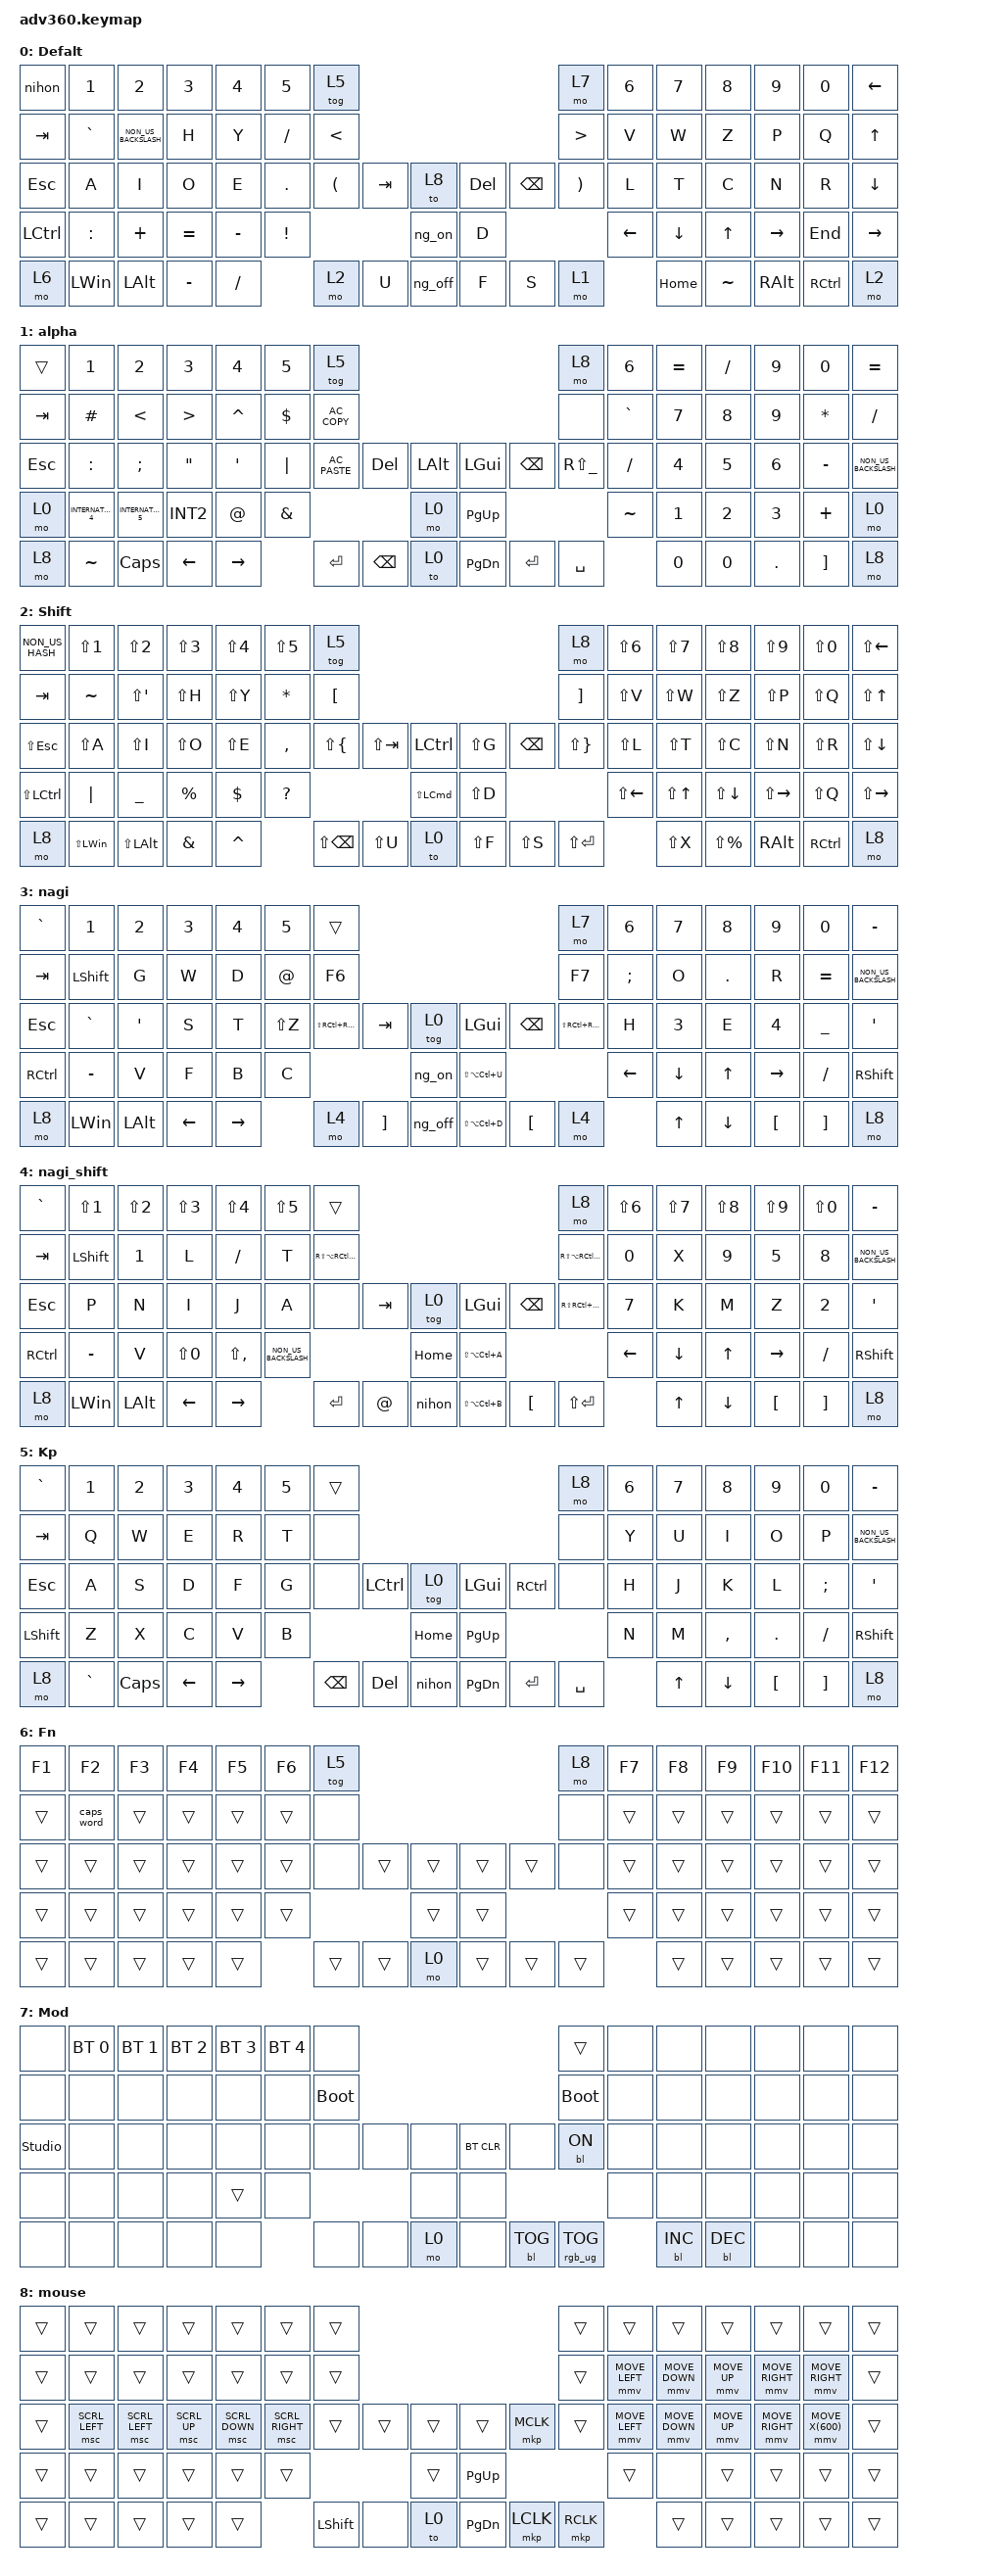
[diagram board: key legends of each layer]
#include <dt-bindings/zmk/stp.h>
#include <behaviors.dtsi>
#include <dt-bindings/zmk/backlight.h>
#include <dt-bindings/zmk/bt.h>
#include <dt-bindings/zmk/keys.h>
#include <dt-bindings/zmk/pointing.h>
#include <dt-bindings/zmk/rgb.h>

/ {
    behaviors {
        #include "macros.dtsi"
      #include "version.dtsi"

        as_ht: as_ht {
            compatible = "zmk,behavior-hold-tap";
            label = "AS_HT";
            bindings = <&mo>, <&kp>;

            #binding-cells = <2>;
            tapping-term-ms = <100>;
            flavor = "tap-preferred";
        };
    };

    macros {
        ng_on: ng_on {
            compatible = "zmk,behavior-macro";
            #binding-cells = <0>;
            bindings = <&macro_tap>, <&kp LC(F1)>, <&macro_tap>, <&to 3>;
        };

        ng_off: ng_off {
            compatible = "zmk,behavior-macro";
            #binding-cells = <0>;
            bindings = <&macro_tap>, <&kp LC(F2)>, <&macro_tap>, <&to 0>;
        };

        nihon: new_macro {
            compatible = "zmk,behavior-macro";
            #binding-cells = <0>;
            bindings =
                <&macro_press>,
                <&kp LEFT_ALT>,
                <&macro_tap>,
                <&kp GRAVE>,
                <&macro_release>,
                <&kp LEFT_ALT>;

            label = "NEW_MACRO";
        };

        ltsst: ciccogg {
            compatible = "zmk,behavior-macro";
            #binding-cells = <0>;
            bindings =
                <&macro_press>,
                <&kp LEFT_ALT>,
                <&macro_tap>,
                <&kp GRAVE>,
                <&macro_release>,
                <&kp LEFT_ALT>,
                <&macro_tap>,
                <&kp LESS_THAN>,
                <&macro_press>,
                <&kp LALT>,
                <&macro_tap>,
                <&kp GRAVE>,
                <&macro_release>,
                <&kp LEFT_ALT>;

            label = "CICCO";
        };

        get: get {
            compatible = "zmk,behavior-macro";
            #binding-cells = <0>;
            bindings =
                <&macro_press>,
                <&kp LEFT_ALT>,
                <&macro_tap>,
                <&kp GRAVE>,
                <&macro_release>,
                <&kp LEFT_ALT>,
                <&macro_tap>,
                <&kp GREATER_THAN>,
                <&macro_press>,
                <&kp LALT>,
                <&macro_tap>,
                <&kp GRAVE>,
                <&macro_release>,
                <&kp LEFT_ALT>;

            label = "GET";
        };

        cicco: cicco {
            compatible = "zmk,behavior-macro";
            #binding-cells = <0>;
            bindings =
                <&macro_press>,
                <&kp LEFT_ALT>,
                <&macro_tap>,
                <&kp GRAVE>,
                <&macro_release>,
                <&kp LEFT_ALT>,
                <&macro_tap>,
                <&kp LEFT_PARENTHESIS>,
                <&macro_press>,
                <&kp LALT>,
                <&macro_tap>,
                <&kp GRAVE>,
                <&macro_release>,
                <&kp LEFT_ALT>;

            label = "CICCO";
        };

        cicccor: cicccor {
            compatible = "zmk,behavior-macro";
            #binding-cells = <0>;
            bindings =
                <&macro_press>,
                <&kp LEFT_ALT>,
                <&macro_tap>,
                <&kp GRAVE>,
                <&macro_release>,
                <&kp LEFT_ALT>,
                <&macro_tap>,
                <&kp RIGHT_PARENTHESIS>,
                <&macro_press>,
                <&kp LALT>,
                <&macro_tap>,
                <&kp GRAVE>,
                <&macro_release>,
                <&kp LEFT_ALT>;

            label = "CICCCOR";
        };

        quest: quest {
            compatible = "zmk,behavior-macro";
            #binding-cells = <0>;
            bindings =
                <&macro_press>,
                <&kp LEFT_ALT>,
                <&macro_tap>,
                <&kp GRAVE>,
                <&macro_release>,
                <&kp LEFT_ALT>,
                <&macro_tap>,
                <&kp QUESTION>,
                <&macro_press>,
                <&kp LALT>,
                <&macro_tap>,
                <&kp GRAVE>,
                <&macro_release>,
                <&kp LEFT_ALT>;

            label = "QUEST";
        };

        biccuri: biccuri {
            compatible = "zmk,behavior-macro";
            #binding-cells = <0>;
            bindings =
                <&macro_press>,
                <&kp LEFT_ALT>,
                <&macro_tap>,
                <&kp GRAVE>,
                <&macro_release>,
                <&kp LEFT_ALT>,
                <&macro_tap>,
                <&kp EXCLAMATION>,
                <&macro_press>,
                <&kp LALT>,
                <&macro_tap>,
                <&kp GRAVE>,
                <&macro_release>,
                <&kp LEFT_ALT>;

            label = "BICCURI";
        };
    };

    combos {
        compatible = "zmk,combos";

        shift_u {
            bindings = <&kp LS(U)>;
            key-positions = <66 65>;
            layers = <0 2>;
        };

        space_combo {
            bindings = <&kp SPACE>;
            key-positions = <69 70>;
            layers = <0 2 1 5 3 4>;
        };

        m {
            bindings = <&kp M>;
            key-positions = <69 68>;
            layers = <0>;
        };

        Mm {
            bindings = <&kp LS(M)>;
            key-positions = <68 69>;
            layers = <2>;
        };

        g {
            bindings = <&kp G>;
            key-positions = <53 69>;
            layers = <0>;
            require-prior-idle-ms = <0>;
        };

        gg {
            bindings = <&kp LS(G)>;
            key-positions = <53 69>;
            layers = <2>;
        };

        b {
            bindings = <&kp B>;
            key-positions = <23 41>;
            layers = <0>;
        };

        j {
            bindings = <&kp K>;
            key-positions = <24 42>;
            layers = <0>;
        };

        x {
            bindings = <&kp X>;
            key-positions = <25 43>;
            layers = <0>;
        };

        q {
            bindings = <&kp J>;
            key-positions = <40 41>;
            layers = <0>;
        };

        jj {
            bindings = <&kp LS(K)>;
            key-positions = <24 42>;
            layers = <2>;
        };

        xx {
            bindings = <&kp LS(X)>;
            key-positions = <25 43>;
            layers = <2>;
        };

        qq {
            bindings = <&kp LS(J)>;
            key-positions = <40 41>;
            layers = <2>;
        };

        nb {
            bindings = <&kp LS(PERIOD)>;
            key-positions = <41 23>;
            layers = <4>;
        };

        sss {
            bindings = <&kp LS(B)>;
            key-positions = <23 41>;
            layers = <2>;
        };

        qqqq {
            bindings = <&kp Q>;
            key-positions = <40 41>;
            layers = <3>;
        };

        uuu {
            bindings = <&kp NUMBER_6>;
            key-positions = <41 40>;
            layers = <4>;
        };

        yyy {
            bindings = <&kp Y>;
            key-positions = <24 42>;
            layers = <3>;
        };

        camma {
            bindings = <&kp COMMA>;
            key-positions = <24 42>;
            layers = <4>;
        };

        o3 {
            bindings = <&kp U>;
            key-positions = <41 23>;
            layers = <3>;
        };

        enter {
            bindings = <&kp ENTER>;
            key-positions = <65 70>;
            layers = <0 2 1 3 4>;
        };
    };

    keymap {
        compatible = "zmk,keymap";

        default_layer {
            display-name = "Defalt";
            bindings = <
&nihon            &kp NUMBER_1  &kp NUMBER_2          &kp NUMBER_3  &kp NUMBER_4  &kp N5           &tog 5                                                              &mo 7                  &kp NUMBER_6  &kp N7    &kp N8        &kp N9         &kp N0     &kp LEFT
&kp TAB           &kp GRAVE     &kp NON_US_BACKSLASH  &kp H         &kp Y         &kp SLASH        &kp LESS_THAN                                                       &kp GREATER_THAN       &kp V         &kp W     &kp Z         &kp P          &kp Q      &kp UP_ARROW
&kp ESC           &kp A         &kp I                 &kp O         &kp E         &kp PERIOD       &kp LEFT_PARENTHESIS  &kp TAB  &to 8        &kp DEL  &kp BACKSPACE  &kp RIGHT_PARENTHESIS  &kp L         &kp T     &kp C         &kp N          &kp R      &kp DOWN
&kp LEFT_CONTROL  &kp COLON     &kp PLUS              &kp EQUAL     &kp MINUS     &kp EXCLAMATION                                 &ng_on       &kp D                                          &kp LEFT      &kp DOWN  &kp UP_ARROW  &kp RIGHT      &kp END    &kp RIGHT
&mo 6             &kp LEFT_WIN  &kp LEFT_ALT          &kp MINUS     &kp SLASH                      &mo 2                 &kp U    &ng_off      &kp F    &kp S          &mo 1                                &kp HOME  &kp TILDE     &kp RIGHT_ALT  &kp RCTRL  &mo 2
            >;
        };

        alpha {
            display-name = "alpha";
            bindings = <
&trans   &kp N1               &kp N2               &kp N3             &kp N4     &kp N5         &tog 5                                                                 &mo 8               &kp N6     &kp EQUAL     &kp SLASH     &kp N9        &kp N0             &kp EQUAL
&kp TAB  &kp HASH             &kp LESS_THAN        &kp GREATER_THAN   &kp CARET  &kp DOLLAR     &kp C_AC_COPY                                                          &none               &kp GRAVE  &kp N7        &kp N8        &kp N9        &kp ASTERISK       &kp SLASH
&kp ESC  &kp COLON            &kp SEMICOLON        &kp DOUBLE_QUOTES  &kp SQT    &kp PIPE       &kp C_AC_PASTE  &kp DELETE     &kp LALT      &kp LGUI   &kp BACKSPACE  &kp RS(UNDERSCORE)  &kp SLASH  &kp NUMBER_4  &kp N5        &kp NUMBER_6  &kp MINUS          &kp NON_US_BACKSLASH
&mo 0    &kp INTERNATIONAL_4  &kp INTERNATIONAL_5  &kp INT2           &kp AT     &kp AMPERSAND                                 &mo 0         &kp PG_UP                                     &kp TILDE  &kp NUMBER_1  &kp NUMBER_2  &kp NUMBER_3  &kp PLUS           &mo 0
&mo 8    &kp TILDE            &kp CAPS             &kp LEFT           &kp RIGHT                 &kp ENTER       &kp BACKSPACE  &to 0         &kp PG_DN  &kp ENTER      &kp SPACE                      &kp N0        &kp N0        &kp PERIOD    &kp RIGHT_BRACKET  &mo 8
            >;
        };

        shift {
            display-name = "Shift";
            bindings = <
&kp NON_US_HASH  &kp LS(NUMBER_1)  &kp LS(NUMBER_2)      &kp LS(NUMBER_3)  &kp LS(NUMBER_4)  &kp LS(N5)    &tog 5                                                                               &mo 8                &kp LS(NUMBER_6)    &kp LS(N7)        &kp LS(N8)       &kp LS(N9)     &kp LS(N0)  &kp LS(LEFT)
&kp TAB          &kp TILDE         &kp LS(SINGLE_QUOTE)  &kp LS(H)         &kp LS(Y)         &kp ASTERISK  &kp LEFT_BRACKET                                                                     &kp RIGHT_BRACKET    &kp LS(V)           &kp LS(W)         &kp LS(Z)        &kp LS(P)      &kp LS(Q)   &kp LS(UP_ARROW)
&kp LS(ESC)      &kp LS(A)         &kp LS(I)             &kp LS(O)         &kp LS(E)         &kp COMMA     &kp LS(LEFT_BRACE)  &kp LS(TAB)  &kp LCTRL                 &kp LS(G)  &kp BACKSPACE  &kp LS(RIGHT_BRACE)  &kp LS(L)           &kp LS(T)         &kp LS(C)        &kp LS(N)      &kp LS(R)   &kp LS(DOWN)
&kp LS(LCTRL)    &kp PIPE          &kp UNDERSCORE        &kp PERCENT       &kp DOLLAR        &kp QMARK                                      &kp LS(LEFT_COMMAND)      &kp LS(D)                                      &kp LS(LEFT_ARROW)  &kp LS(UP_ARROW)  &kp LS(DOWN)     &kp LS(RIGHT)  &kp LS(Q)   &kp LS(RIGHT)
&mo 8            &kp LS(LEFT_WIN)  &kp LS(LEFT_ALT)      &kp AMPERSAND     &kp CARET                       &kp LS(BACKSPACE)   &kp LS(U)    &to 0                     &kp LS(F)  &kp LS(S)      &kp LS(ENTER)                            &kp LS(X)         &kp LS(PERCENT)  &kp RIGHT_ALT  &kp RCTRL   &mo 8
            >;
        };

        nagi {
            display-name = "nagi";
            bindings = <
&kp GRAVE  &kp N1          &kp N2        &kp N3    &kp N4     &kp N5       &trans                                                                                  &mo 7              &kp N6         &kp N7        &kp N8        &kp N9            &kp N0          &kp MINUS
&kp TAB    &kp LEFT_SHIFT  &kp G         &kp W     &kp D      &kp AT_SIGN  &kp F6                                                                                  &kp F7             &kp SEMICOLON  &kp O         &kp PERIOD    &kp R             &kp EQUAL       &kp NON_US_BACKSLASH
&kp ESC    &kp GRAVE       &kp SQT       &kp S     &kp T      &kp LS(Z)    &kp LS(RC(RA(A)))  &kp TAB            &tog 0       &kp LGUI           &kp BACKSPACE     &kp LS(RC(RA(B)))  &kp H          &kp NUMBER_3  &kp E         &kp NUMBER_4      &kp UNDERSCORE  &kp SQT
&kp RCTRL  &kp MINUS       &kp V         &kp F     &kp B      &kp C                                              &ng_on       &kp LS(LA(LC(U)))                                       &kp LEFT       &kp DOWN      &kp UP_ARROW  &kp RIGHT         &kp SLASH       &kp RSHFT
&mo 8      &kp LEFT_WIN    &kp LEFT_ALT  &kp LEFT  &kp RIGHT               &mo 4              &kp RIGHT_BRACKET  &ng_off      &kp LS(LA(LC(D)))  &kp LEFT_BRACKET  &mo 4                             &kp UP        &kp DOWN      &kp LEFT_BRACKET  &kp RBKT        &mo 8
            >;
        };

        nagi_shiftl {
            display-name = "nagi_shift";
            bindings = <
&kp GRAVE  &kp LS(N1)      &kp LS(N2)    &kp LS(N3)  &kp LS(N4)     &kp LS(N5)            &trans                                                                             &mo 8              &kp LS(N6)  &kp LS(N7)  &kp LS(N8)    &kp LS(N9)        &kp LS(N0)    &kp MINUS
&kp TAB    &kp LEFT_SHIFT  &kp NUMBER_1  &kp L       &kp SLASH      &kp T                 &kp RS(LA(RC(Q)))                                                                  &kp RS(LA(RC(E)))  &kp N0      &kp X       &kp N9        &kp N5            &kp N8        &kp NON_US_BACKSLASH
&kp ESC    &kp P           &kp N         &kp I       &kp J          &kp A                 &none              &kp TAB      &tog 0        &kp LGUI           &kp BACKSPACE     &kp RS(RC(RA(I)))  &kp N7      &kp K       &kp M         &kp Z             &kp NUMBER_2  &kp SQT
&kp RCTRL  &kp MINUS       &kp V         &kp LS(N0)  &kp LS(COMMA)  &kp NON_US_BACKSLASH                                  &kp HOME      &kp LS(LA(LC(A)))                                       &kp LEFT    &kp DOWN    &kp UP_ARROW  &kp RIGHT         &kp SLASH     &kp RSHFT
&mo 8      &kp LEFT_WIN    &kp LEFT_ALT  &kp LEFT    &kp RIGHT                            &kp ENTER          &kp AT_SIGN  &nihon        &kp LS(LA(LC(B)))  &kp LEFT_BRACKET  &kp LS(ENTER)                  &kp UP      &kp DOWN      &kp LEFT_BRACKET  &kp RBKT      &mo 8
            >;
        };

        keypad {
            display-name = "Kp";
            bindings = <
&kp GRAVE  &kp N1     &kp N2    &kp N3    &kp N4     &kp N5  &trans                                                   &mo 8      &kp N6  &kp N7  &kp N8     &kp N9            &kp N0         &kp MINUS
&kp TAB    &kp Q      &kp W     &kp E     &kp R      &kp T   &none                                                    &none      &kp Y   &kp U   &kp I      &kp O             &kp P          &kp NON_US_BACKSLASH
&kp ESC    &kp A      &kp S     &kp D     &kp F      &kp G   &none     &kp LCTRL  &tog 0        &kp LGUI   &kp RCTRL  &none      &kp H   &kp J   &kp K      &kp L             &kp SEMICOLON  &kp SQT
&kp LSHFT  &kp Z      &kp X     &kp C     &kp V      &kp B                        &kp HOME      &kp PG_UP                        &kp N   &kp M   &kp COMMA  &kp PERIOD        &kp SLASH      &kp RSHFT
&mo 8      &kp GRAVE  &kp CAPS  &kp LEFT  &kp RIGHT          &kp BSPC  &kp DEL    &nihon        &kp PG_DN  &kp ENTER  &kp SPACE          &kp UP  &kp DOWN   &kp LEFT_BRACKET  &kp RBKT       &mo 8
            >;
        };

        fn {
            display-name = "Fn";
            bindings = <
&kp F1  &kp F2      &kp F3  &kp F4  &kp F5  &kp F6  &tog 5                                      &mo 8   &kp F7  &kp F8  &kp F9  &kp F10  &kp F11  &kp F12
&trans  &caps_word  &trans  &trans  &trans  &trans  &none                                       &none   &trans  &trans  &trans  &trans   &trans   &trans
&trans  &trans      &trans  &trans  &trans  &trans  &none   &trans  &trans      &trans  &trans  &none   &trans  &trans  &trans  &trans   &trans   &trans
&trans  &trans      &trans  &trans  &trans  &trans                  &trans      &trans                  &trans  &trans  &trans  &trans   &trans   &trans
&trans  &trans      &trans  &trans  &trans          &trans  &trans  &mo 0       &trans  &trans  &trans          &trans  &trans  &trans   &trans   &trans
            >;
        };

        mod {
            display-name = "Mod";
            bindings = <
&none           &bt BT_SEL 0  &bt BT_SEL 1  &bt BT_SEL 2  &bt BT_SEL 3  &bt BT_SEL 4  &none                                                  &trans           &none  &none       &none       &none  &none  &none
&none           &none         &none         &none         &none         &none         &bootloader                                            &bootloader      &none  &none       &none       &none  &none  &none
&studio_unlock  &none         &none         &none         &none         &none         &none        &none  &none      &bt BT_CLR  &none       &bl BL_ON        &none  &none       &none       &none  &none  &none
&none           &none         &none         &none         &trans        &none                             &none      &none                                    &none  &none       &none       &none  &none  &none
&none           &none         &none         &none         &none                       &none        &none  &mo 0      &none       &bl BL_TOG  &rgb_ug RGB_TOG         &bl BL_INC  &bl BL_DEC  &none  &none  &none
            >;
        };

        mouse {
            bindings = <
&trans  &trans          &trans          &trans        &trans          &trans           &trans                                                        &trans     &trans          &trans          &trans        &trans           &trans            &trans
&trans  &trans          &trans          &trans        &trans          &trans           &trans                                                        &trans     &mmv MOVE_LEFT  &mmv MOVE_DOWN  &mmv MOVE_UP  &mmv MOVE_RIGHT  &mmv MOVE_RIGHT   &trans
&trans  &msc SCRL_LEFT  &msc SCRL_LEFT  &msc SCRL_UP  &msc SCRL_DOWN  &msc SCRL_RIGHT  &trans          &trans  &trans      &trans         &mkp MCLK  &trans     &mmv MOVE_LEFT  &mmv MOVE_DOWN  &mmv MOVE_UP  &mmv MOVE_RIGHT  &mmv MOVE_X(600)  &trans
&trans  &trans          &trans          &trans        &trans          &trans                                   &trans      &kp PAGE_UP                          &trans          &none           &trans        &trans           &trans            &trans
&trans  &trans          &trans          &trans        &trans                           &kp LEFT_SHIFT  &none   &to 0       &kp PAGE_DOWN  &mkp LCLK  &mkp RCLK                  &trans          &trans        &trans           &trans            &trans
            >;
        };
    };
};
